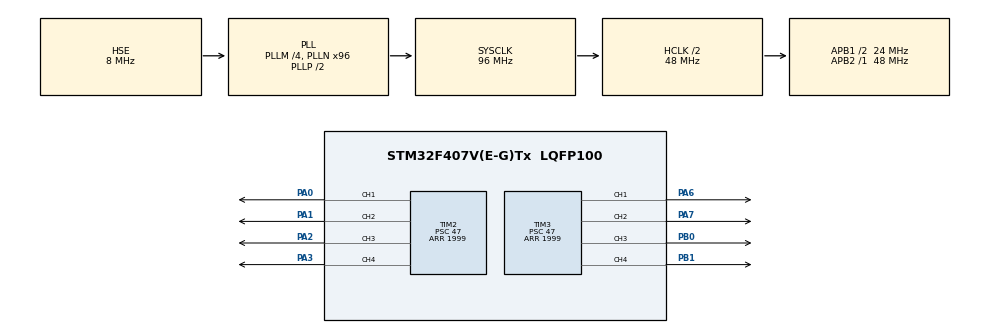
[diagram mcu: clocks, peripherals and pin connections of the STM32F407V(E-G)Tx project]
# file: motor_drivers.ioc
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Mcu.Family=STM32F4
Mcu.Name=STM32F407V(E-G)Tx
Mcu.Package=LQFP100
NVIC.PriorityGroup=NVIC_PRIORITYGROUP_4
PA0-WKUP.Signal=S_TIM2_CH1_ETR
PA1.Signal=S_TIM2_CH2
PA13.Mode=Serial_Wire
PA13.Signal=SYS_JTMS-SWDIO
PA14.Mode=Serial_Wire
PA14.Signal=SYS_JTCK-SWCLK
PA2.Signal=S_TIM2_CH3
PA3.Signal=S_TIM2_CH4
PA6.Signal=S_TIM3_CH1
PA7.Signal=S_TIM3_CH2
PB0.Signal=S_TIM3_CH3
PB1.Signal=S_TIM3_CH4
PH0-OSC_IN.Mode=HSE-External-Oscillator
PH0-OSC_IN.Signal=RCC_OSC_IN
PH1-OSC_OUT.Mode=HSE-External-Oscillator
PH1-OSC_OUT.Signal=RCC_OSC_OUT
ProjectManager.HeapSize=0x200
ProjectManager.StackSize=0x400
ProjectManager.TargetToolchain=STM32CubeIDE
RCC.48MHZClocksFreq_Value=48000000
RCC.AHBCLKDivider=RCC_SYSCLK_DIV2
RCC.AHBFreq_Value=48000000
RCC.APB1CLKDivider=RCC_HCLK_DIV2
RCC.APB1Freq_Value=24000000
RCC.APB1TimFreq_Value=48000000
RCC.APB2Freq_Value=48000000
RCC.APB2TimFreq_Value=48000000
RCC.CortexFreq_Value=48000000
RCC.HCLKFreq_Value=48000000
RCC.HSE_VALUE=8000000
RCC.HSI_VALUE=16000000
RCC.LSE_VALUE=32768
RCC.PLLM=4
RCC.PLLN=96
RCC.PLLSourceVirtual=RCC_PLLSOURCE_HSE
RCC.SYSCLKFreq_VALUE=96000000
RCC.SYSCLKSource=RCC_SYSCLKSOURCE_PLLCLK
RCC.VCOOutputFreq_Value=192000000
SH.S_TIM2_CH1_ETR.0=TIM2_CH1,PWM Generation1 CH1
SH.S_TIM2_CH2.0=TIM2_CH2,PWM Generation2 CH2
SH.S_TIM2_CH3.0=TIM2_CH3,PWM Generation3 CH3
SH.S_TIM2_CH4.0=TIM2_CH4,PWM Generation4 CH4
SH.S_TIM3_CH1.0=TIM3_CH1,PWM Generation1 CH1
SH.S_TIM3_CH2.0=TIM3_CH2,PWM Generation2 CH2
SH.S_TIM3_CH3.0=TIM3_CH3,PWM Generation3 CH3
SH.S_TIM3_CH4.0=TIM3_CH4,PWM Generation4 CH4
TIM2.Channel-PWM\ Generation1\ CH1=TIM_CHANNEL_1
TIM2.Channel-PWM\ Generation2\ CH2=TIM_CHANNEL_2
TIM2.Channel-PWM\ Generation3\ CH3=TIM_CHANNEL_3
TIM2.Channel-PWM\ Generation4\ CH4=TIM_CHANNEL_4
TIM2.Period=1999
TIM2.Prescaler=47
TIM3.Channel-PWM\ Generation1\ CH1=TIM_CHANNEL_1
TIM3.Channel-PWM\ Generation2\ CH2=TIM_CHANNEL_2
TIM3.Channel-PWM\ Generation3\ CH3=TIM_CHANNEL_3
TIM3.Channel-PWM\ Generation4\ CH4=TIM_CHANNEL_4
TIM3.Period=1999
TIM3.Prescaler=47
VP_TIM2_VS_ClockSourceINT.Mode=Internal
VP_TIM3_VS_ClockSourceINT.Mode=Internal
board=custom

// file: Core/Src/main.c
/* USER CODE BEGIN Header */
/**
 ******************************************************************************
 * @file           : main.c
 * @brief          : Main program body
 ******************************************************************************
 * @attention
 *
 * Copyright (c) 2025 STMicroelectronics.
 * All rights reserved.
 *
 * This software is licensed under terms that can be found in the LICENSE file
 * in the root directory of this software component.
 * If no LICENSE file comes with this software, it is provided AS-IS.
 *
 ******************************************************************************
 */
/* USER CODE END Header */
#include "main.h"

TIM_HandleTypeDef htim2;
TIM_HandleTypeDef htim3;

void SystemClock_Config(void);
static void MX_GPIO_Init(void);
static void MX_TIM3_Init(void);
static void MX_TIM2_Init(void);
/* USER CODE BEGIN PFP */
typedef struct {
	TIM_HandleTypeDef *htim;      // Указатель на таймер
	uint32_t channel1;            // Канал PWM для IN1
	uint32_t channel2;            // Канал PWM для IN2
} Motor_TypeDef;
/* USER CODE END PFP */

/* USER CODE BEGIN 0 */
Motor_TypeDef motors[4] = { { &htim2, TIM_CHANNEL_1, TIM_CHANNEL_2 }, // Мотор 1
		{ &htim2, TIM_CHANNEL_3, TIM_CHANNEL_4 },  // Мотор 2
		{ &htim3, TIM_CHANNEL_1, TIM_CHANNEL_2 },  // Мотор 3
		{ &htim3, TIM_CHANNEL_3, TIM_CHANNEL_4 }   // Мотор 4
};

void Motor_SetSpeedAndDirection(Motor_TypeDef *motor, int8_t speed) {
	int32_t dutyCycle1 = 0;
	int32_t dutyCycle2 = 0;

	if (speed > 0) {
		// Вперед
		dutyCycle1 = (uint32_t) ((speed * 2000) / 100); // Переводим скорость в диапазон от 0 до 10000
		dutyCycle2 = 0;
	} else if (speed < 0) {
		// Назад
		dutyCycle1 = 0;
		dutyCycle2 = (uint32_t) ((-speed * 2000) / 100); // Переводим скорость в диапазон от 0 до 10000
	} else {
		// Стоп
		dutyCycle1 = 0;
		dutyCycle2 = 0;
	}

	// Установка значения Duty Cycle для каждого канала
	__HAL_TIM_SET_COMPARE(motor->htim, motor->channel1, dutyCycle1);
	__HAL_TIM_SET_COMPARE(motor->htim, motor->channel2, dutyCycle2);
}
/* USER CODE END 0 */

int main(void) {

	/* MCU Configuration--------------------------------------------------------*/

	/* Reset of all peripherals, Initializes the Flash interface and the Systick. */
	HAL_Init();

	/* Configure the system clock */
	SystemClock_Config();

	/* Initialize all configured peripherals */
	MX_GPIO_Init();
	MX_TIM3_Init();
	MX_TIM2_Init();
	/* USER CODE BEGIN 2 */
	HAL_TIM_PWM_Start(&htim2, TIM_CHANNEL_1);
	HAL_TIM_PWM_Start(&htim2, TIM_CHANNEL_2);
	HAL_TIM_PWM_Start(&htim2, TIM_CHANNEL_3);
	HAL_TIM_PWM_Start(&htim2, TIM_CHANNEL_4);

	HAL_TIM_PWM_Start(&htim3, TIM_CHANNEL_1);
	HAL_TIM_PWM_Start(&htim3, TIM_CHANNEL_2);
	HAL_TIM_PWM_Start(&htim3, TIM_CHANNEL_3);
	HAL_TIM_PWM_Start(&htim3, TIM_CHANNEL_4);
	/* USER CODE END 2 */

	/* Infinite loop */
	/* USER CODE BEGIN WHILE */
	while (1) {
		Motor_SetSpeedAndDirection(&motors[0], 50); // Мотор 1: вперед со скоростью 50%
		Motor_SetSpeedAndDirection(&motors[1], -50); // Мотор 2: назад со скоростью 50%
		Motor_SetSpeedAndDirection(&motors[2], 30); // Мотор 3: вперед со скоростью 30%
		Motor_SetSpeedAndDirection(&motors[3], -30); // Мотор 4: назад со скоростью 30%
		HAL_Delay(2000);

		Motor_SetSpeedAndDirection(&motors[0], 0);  // Мотор 1: стоп
		Motor_SetSpeedAndDirection(&motors[1], 0);  // Мотор 2: стоп
		Motor_SetSpeedAndDirection(&motors[2], 0);  // Мотор 3: стоп
		Motor_SetSpeedAndDirection(&motors[3], 0);  // Мотор 4: стоп
		HAL_Delay(2000);
		/* USER CODE END WHILE */

	}
}

void SystemClock_Config(void) {
	RCC_OscInitTypeDef RCC_OscInitStruct = { 0 };
	RCC_ClkInitTypeDef RCC_ClkInitStruct = { 0 };

	/** Configure the main internal regulator output voltage
	 */
	__HAL_RCC_PWR_CLK_ENABLE();
	__HAL_PWR_VOLTAGESCALING_CONFIG(PWR_REGULATOR_VOLTAGE_SCALE1);

	/** Initializes the RCC Oscillators according to the specified parameters
	 * in the RCC_OscInitTypeDef structure.
	 */
	RCC_OscInitStruct.OscillatorType = RCC_OSCILLATORTYPE_HSE;
	RCC_OscInitStruct.HSEState = RCC_HSE_ON;
	RCC_OscInitStruct.PLL.PLLState = RCC_PLL_ON;
	RCC_OscInitStruct.PLL.PLLSource = RCC_PLLSOURCE_HSE;
	RCC_OscInitStruct.PLL.PLLM = 4;
	RCC_OscInitStruct.PLL.PLLN = 96;
	RCC_OscInitStruct.PLL.PLLP = RCC_PLLP_DIV2;
	RCC_OscInitStruct.PLL.PLLQ = 4;
	if (HAL_RCC_OscConfig(&RCC_OscInitStruct) != HAL_OK) {
		Error_Handler();
	}

	/** Initializes the CPU, AHB and APB buses clocks
	 */
	RCC_ClkInitStruct.ClockType = RCC_CLOCKTYPE_HCLK | RCC_CLOCKTYPE_SYSCLK
			| RCC_CLOCKTYPE_PCLK1 | RCC_CLOCKTYPE_PCLK2;
	RCC_ClkInitStruct.SYSCLKSource = RCC_SYSCLKSOURCE_PLLCLK;
	RCC_ClkInitStruct.AHBCLKDivider = RCC_SYSCLK_DIV2;
	RCC_ClkInitStruct.APB1CLKDivider = RCC_HCLK_DIV2;
	RCC_ClkInitStruct.APB2CLKDivider = RCC_HCLK_DIV1;

	if (HAL_RCC_ClockConfig(&RCC_ClkInitStruct, FLASH_LATENCY_1) != HAL_OK) {
		Error_Handler();
	}
}

static void MX_TIM2_Init(void) {

	TIM_ClockConfigTypeDef sClockSourceConfig = { 0 };
	TIM_MasterConfigTypeDef sMasterConfig = { 0 };
	TIM_OC_InitTypeDef sConfigOC = { 0 };

	htim2.Instance = TIM2;
	htim2.Init.Prescaler = 47;
	htim2.Init.CounterMode = TIM_COUNTERMODE_UP;
	htim2.Init.Period = 1999;
	htim2.Init.ClockDivision = TIM_CLOCKDIVISION_DIV1;
	htim2.Init.AutoReloadPreload = TIM_AUTORELOAD_PRELOAD_DISABLE;
	if (HAL_TIM_Base_Init(&htim2) != HAL_OK) {
		Error_Handler();
	}
	sClockSourceConfig.ClockSource = TIM_CLOCKSOURCE_INTERNAL;
	if (HAL_TIM_ConfigClockSource(&htim2, &sClockSourceConfig) != HAL_OK) {
		Error_Handler();
	}
	if (HAL_TIM_PWM_Init(&htim2) != HAL_OK) {
		Error_Handler();
	}
	sMasterConfig.MasterOutputTrigger = TIM_TRGO_RESET;
	sMasterConfig.MasterSlaveMode = TIM_MASTERSLAVEMODE_DISABLE;
	if (HAL_TIMEx_MasterConfigSynchronization(&htim2, &sMasterConfig)
			!= HAL_OK) {
		Error_Handler();
	}
	sConfigOC.OCMode = TIM_OCMODE_PWM1;
	sConfigOC.Pulse = 0;
	sConfigOC.OCPolarity = TIM_OCPOLARITY_HIGH;
	sConfigOC.OCFastMode = TIM_OCFAST_DISABLE;
	if (HAL_TIM_PWM_ConfigChannel(&htim2, &sConfigOC, TIM_CHANNEL_1)
			!= HAL_OK) {
		Error_Handler();
	}
	if (HAL_TIM_PWM_ConfigChannel(&htim2, &sConfigOC, TIM_CHANNEL_2)
			!= HAL_OK) {
		Error_Handler();
	}
	if (HAL_TIM_PWM_ConfigChannel(&htim2, &sConfigOC, TIM_CHANNEL_3)
			!= HAL_OK) {
		Error_Handler();
	}
	if (HAL_TIM_PWM_ConfigChannel(&htim2, &sConfigOC, TIM_CHANNEL_4)
			!= HAL_OK) {
		Error_Handler();
	}
	HAL_TIM_MspPostInit(&htim2);

}

static void MX_TIM3_Init(void) {

	TIM_ClockConfigTypeDef sClockSourceConfig = { 0 };
	TIM_MasterConfigTypeDef sMasterConfig = { 0 };
	TIM_OC_InitTypeDef sConfigOC = { 0 };

	htim3.Instance = TIM3;
	htim3.Init.Prescaler = 47;
	htim3.Init.CounterMode = TIM_COUNTERMODE_UP;
	htim3.Init.Period = 1999;
	htim3.Init.ClockDivision = TIM_CLOCKDIVISION_DIV1;
	htim3.Init.AutoReloadPreload = TIM_AUTORELOAD_PRELOAD_DISABLE;
	if (HAL_TIM_Base_Init(&htim3) != HAL_OK) {
		Error_Handler();
	}
	sClockSourceConfig.ClockSource = TIM_CLOCKSOURCE_INTERNAL;
	if (HAL_TIM_ConfigClockSource(&htim3, &sClockSourceConfig) != HAL_OK) {
		Error_Handler();
	}
	if (HAL_TIM_PWM_Init(&htim3) != HAL_OK) {
		Error_Handler();
	}
	sMasterConfig.MasterOutputTrigger = TIM_TRGO_RESET;
	sMasterConfig.MasterSlaveMode = TIM_MASTERSLAVEMODE_DISABLE;
	if (HAL_TIMEx_MasterConfigSynchronization(&htim3, &sMasterConfig)
			!= HAL_OK) {
		Error_Handler();
	}
	sConfigOC.OCMode = TIM_OCMODE_PWM1;
	sConfigOC.Pulse = 0;
	sConfigOC.OCPolarity = TIM_OCPOLARITY_HIGH;
	sConfigOC.OCFastMode = TIM_OCFAST_DISABLE;
	if (HAL_TIM_PWM_ConfigChannel(&htim3, &sConfigOC, TIM_CHANNEL_1)
			!= HAL_OK) {
		Error_Handler();
	}
	if (HAL_TIM_PWM_ConfigChannel(&htim3, &sConfigOC, TIM_CHANNEL_2)
			!= HAL_OK) {
		Error_Handler();
	}
	if (HAL_TIM_PWM_ConfigChannel(&htim3, &sConfigOC, TIM_CHANNEL_3)
			!= HAL_OK) {
		Error_Handler();
	}
	if (HAL_TIM_PWM_ConfigChannel(&htim3, &sConfigOC, TIM_CHANNEL_4)
			!= HAL_OK) {
		Error_Handler();
	}
	HAL_TIM_MspPostInit(&htim3);

}

static void MX_GPIO_Init(void) {

	/* GPIO Ports Clock Enable */
	__HAL_RCC_GPIOH_CLK_ENABLE();
	__HAL_RCC_GPIOA_CLK_ENABLE();
	__HAL_RCC_GPIOB_CLK_ENABLE();

}

void Error_Handler(void) {
	__disable_irq();
	while (1) {
	}
}
